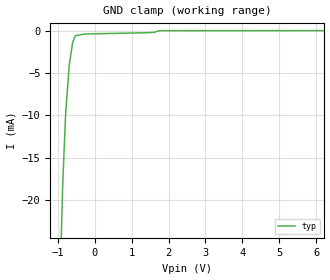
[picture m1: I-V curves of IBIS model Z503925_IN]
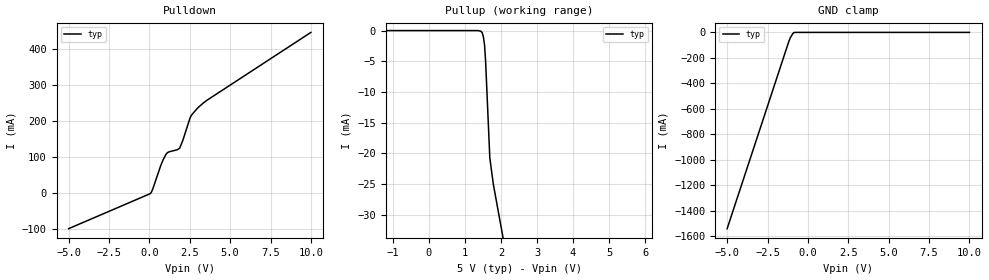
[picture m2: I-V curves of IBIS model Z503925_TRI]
| YOU ARE ONLY AUTHORIZED TO USE THIS SOFTWARE
| ACCORDING TO LICENSOR'S LICENSE RESTRICTIONS.
[IBIS Ver] 3.1
[File Name] mc54f251j.ibs
[File Rev] 2.0
[Source] Measured and created by ICX Technology
[Date] Friday 7/14/00 9:08:03 AM
[Copyright]
| (C) COPYRIGHT 1993-2000
| MENTOR GRAPHICS CORPORATION
| ICX STANDARD LIBRARY, ICX PROJECT MODELING,
| ICX CUSTOM MODELING, ICX VENDOR MODEL
| ALL RIGHTS RESERVED.
| THE FOLLOWING ARE TRADEMARKS OR SERVICE MARKS OF
| MENTOR GRAPHICS CORPORATION:ICX (R), ICX STANDARD
| LIBRARY(R), ICX PROJECT MODELING(R), ICX CUSTOM
| MODELING(R), qualityIBIS(TM), MODELVIEWER(TM),
| AND MODELEDITOR(TM)
| ALL COPIES OF SOFTWARE, INCLUDING BUT NOT LIMITED TO
| ANY MODIFICATIONS, ENHANCEMENTS OR DERIVATIVE WORKS,
| MUST CONTAIN ALL MENTOR GRAPHICS CORPORATION'S
| NOTICES AND LEGENDS, INCLUDING THOSE EMBEDDED IN
| SOFTWARE AND THOSE AFFIXED TO SOFTWARE MEDIUM
| AND CONTAINER, AS RECEIVED FROM MENTOR GRAPHICS
| CORPORATION.
|  ZAP Model Builder 2.7
[Component] MC54F251J
[Manufacturer] OnSemiconductor
[Package]
| variable   typ   min   max
R_pkg  .212ohms NA NA
L_pkg  4.758nH NA NA
C_pkg  1.944pF NA NA
[Pin] signal_name  model_name  R_pin  L_pin C_pin
1 D3 Z503925_IN .224 7.258n 2.683p
2 D2 Z503925_IN .216 5.258n 2.19p
3 D1 Z503925_IN .208 3.758n 1.697p
4 D0 Z503925_IN .2 2.758n 1.204p
5 Y Z503925_TRI .2 2.758n 1.204p
6 _Y Z503925_TRI .208 3.758n 1.697p
7 _G Z503925_IN .216 5.258n 2.19p
8 GND GND .224 7.258n 2.683p
9 C Z503925_IN .224 7.258n 2.683p
10 B Z503925_IN .216 5.258n 2.19p
11 A Z503925_IN .208 3.758n 1.697p
12 D7 Z503925_IN .2 2.758n 1.204p
13 D6 Z503925_IN .2 2.758n 1.204p
14 D5 Z503925_IN .208 3.758n 1.697p
15 D4 Z503925_IN .216 5.258n 2.19p
16 VCC POWER .224 7.258n 2.683p
| Models and submodels in the file (2): Z503925_IN (Input), Z503925_TRI (3-state)
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| (C) COPYRIGHT 1993-2000
| MENTOR GRAPHICS CORPORATION
| ICX STANDARD LIBRARY, ICX PROJECT MODELING,
| ICX CUSTOM MODELING, ICX VENDOR MODEL
| ALL RIGHTS RESERVED.
| THE FOLLOWING ARE TRADEMARKS OR SERVICE MARKS OF
| MENTOR GRAPHICS CORPORATION:ICX (R), ICX STANDARD
| LIBRARY(R), ICX PROJECT MODELING(R), ICX CUSTOM
| MODELING(R), qualityIBIS(TM), MODELVIEWER(TM),
| AND MODELEDITOR(TM)
| ALL COPIES OF SOFTWARE, INCLUDING BUT NOT LIMITED TO
| ANY MODIFICATIONS, ENHANCEMENTS OR DERIVATIVE WORKS,
| MUST CONTAIN ALL MENTOR GRAPHICS CORPORATION'S
| NOTICES AND LEGENDS, INCLUDING THOSE EMBEDDED IN
| SOFTWARE AND THOSE AFFIXED TO SOFTWARE MEDIUM
| AND CONTAINER, AS RECEIVED FROM MENTOR GRAPHICS
| CORPORATION.
| Model Application Version 1.89 2/18/99.
[Model] Z503925_IN
Model_type Input
Vinl = 800.0mV
Vinh = 2.000V
C_comp 4.000pF NA NA
| variable typ   min   max
[Voltage Range] 5.000V NA NA
[GND Clamp Reference] 0.000V NA NA
[POWER Clamp Reference] 5.000V NA NA
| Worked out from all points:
|   GND clamp passes 1 mA (typ) near -0.56 V on its own axis
[GND Clamp]
-5V       -665.3mA   NA         NA
-863.3mV  -18.17mA   NA         NA
-785.7mV  -9.975mA   NA         NA
-688.4mV  -4.128mA   NA         NA
-595.5mV  -1.424mA   NA         NA
-525.6mV  -605.1uA   NA         NA
-262.8mV  -396.7uA   NA         NA
1.448V    -245.8uA   NA         NA
1.628V    -198uA     NA         NA
1.704V    -46.28uA   NA         NA
1.782V    -3.988uA   NA         NA
10V       6.285uA    NA         NA
[POWER Clamp]
-5V       0A         NA         NA
10V       0A         NA         NA
| (C) COPYRIGHT 1993-2000
| MENTOR GRAPHICS CORPORATION
| ICX STANDARD LIBRARY, ICX PROJECT MODELING,
| ICX CUSTOM MODELING, ICX VENDOR MODEL
| ALL RIGHTS RESERVED.
| THE FOLLOWING ARE TRADEMARKS OR SERVICE MARKS OF
| MENTOR GRAPHICS CORPORATION:ICX (R), ICX STANDARD
| LIBRARY(R), ICX PROJECT MODELING(R), ICX CUSTOM
| MODELING(R), qualityIBIS(TM), MODELVIEWER(TM),
| AND MODELEDITOR(TM)
| ALL COPIES OF SOFTWARE, INCLUDING BUT NOT LIMITED TO
| ANY MODIFICATIONS, ENHANCEMENTS OR DERIVATIVE WORKS,
| MUST CONTAIN ALL MENTOR GRAPHICS CORPORATION'S
| NOTICES AND LEGENDS, INCLUDING THOSE EMBEDDED IN
| SOFTWARE AND THOSE AFFIXED TO SOFTWARE MEDIUM
| AND CONTAINER, AS RECEIVED FROM MENTOR GRAPHICS
| CORPORATION.
| Model Application Version 1.89 2/18/99.
[Model] Z503925_TRI
Model_type 3-state
Vref=0.000V
Rref=500.0ohms
Cref=50.00pF
Vmeas=1.500V
C_comp 8.000pF NA NA
| variable typ   min   max
[Voltage Range] 5.000V NA NA
[POWER Clamp Reference] 5.000V NA NA
[Pullup Reference] 5.000V NA NA
[Pulldown Reference] 0.000V NA NA
[GND Clamp Reference] 0.000V NA NA
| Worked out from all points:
|   slope of the pulldown table from 0 to 0.75 V, typ, clamps not added: 8.93 ohm
|   GND clamp passes 1 mA (typ) near -0.85 V on its own axis
[GND Clamp]
-5V       -1.54A     NA         NA
-1.181V   -71.14mA   NA         NA
-1.08V    -40.08mA   NA         NA
-936.6mV  -10.05mA   NA         NA
-864.3mV  -1.233mA   NA         NA
-777.9mV  0A         NA         NA
10V       0A         NA         NA
[Pulldown]
-5V       -97.8mA    NA         NA
48.83mV   -938.6uA   NA         NA
233.7mV   15.11mA    NA         NA
703.2mV   76.96mA    NA         NA
1.026V    108.1mA    NA         NA
1.219V    115mA      NA         NA
1.87V     124.8mA    NA         NA
2.066V    146.1mA    NA         NA
2.515V    208.4mA    NA         NA
2.999V    236.9mA    NA         NA
3.555V    257.5mA    NA         NA
10V       445.7mA    NA         NA
[Pullup]
-5V       -888.8nA   NA         NA
1.365V    -888.8nA   NA         NA
1.441V    -106.4uA   NA         NA
1.479V    -364.5uA   NA         NA
1.512V    -1.08mA    NA         NA
1.543V    -2.356mA   NA         NA
1.572V    -4.976mA   NA         NA
1.689V    -20.74mA   NA         NA
1.787V    -25.05mA   NA         NA
10V       -289.6mA   NA         NA
[POWER Clamp]
-5V       0A         NA         NA
10V       0A         NA         NA
[Ramp]
| variable typ min max
dV/dt_r 2.008/2.203n NA NA
dV/dt_f 2.008/1.434n NA NA
R_load = 500.0Ohms
